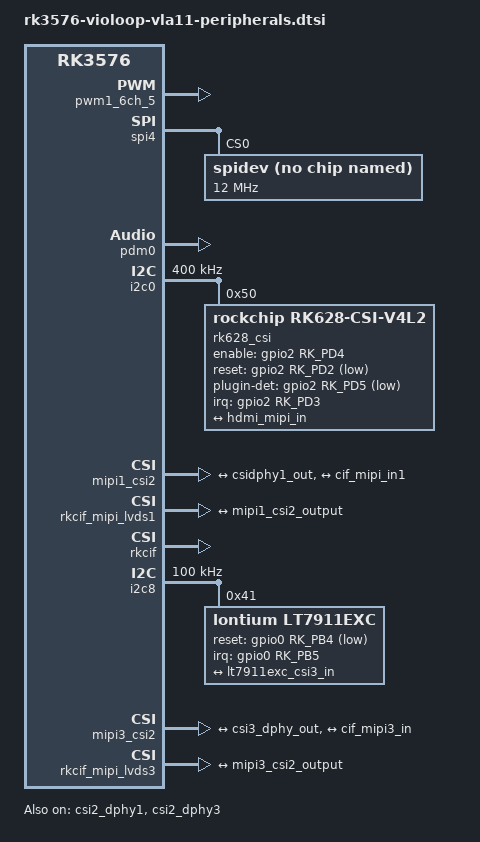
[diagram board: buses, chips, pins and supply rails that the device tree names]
// SPDX-License-Identifier: (GPL-2.0+ OR MIT)
/*
 * Violoop VLA11 product peripherals.
 *
 * Optional devices populated on the complete VLA11 product.
 */

/ {
    pdmics: dummy-codec {
        status = "okay";
        compatible = "rockchip,dummy-codec";
        #sound-dai-cells = <0>;
    };

    pdm_mic_array: pdm-mic-array {
        status = "okay";
        compatible = "simple-audio-card";
        simple-audio-card,name = "rockchip,pdm-mic-array";
        simple-audio-card,cpu {
            sound-dai = <&pdm0>;
        };
        simple-audio-card,codec {
            sound-dai = <&pdmics>;
        };
    };

};

/**********Violoop userspace fan control**********/

&pwm1_6ch_5 {
    /*
     * PWM1_CH5_M1 drives the fan input on GPIO4_C0.  Do not bind the
     * kernel pwm-fan consumer here: violoop-thermald owns pwmchip1/pwm0
     * and applies the product fan curve in userspace.
     */
    status = "okay";
    pinctrl-0 = <&pwm1m1_ch5>;
};

/**********3PIN SPI呼吸灯**********/

&spi4 {
    status = "okay";
    pinctrl-names = "default";
    /*
     * The 3-wire WS2812 strip only uses MOSI.  Do not request CS0 here:
     * SPI4_M3_CSN0 is GPIO2_B2, shared with PCIe0 CLKREQ# on VLA11.
     * Userspace sets SPI_NO_CS for transfers.
     */
    pinctrl-0 = <&spi4m3_pins>;


    #address-cells = <1>;
    #size-cells = <0>;

    // 定义 SPI 设备：片选 0，生成 /dev/spidev4.0
    spidev@0 {
        compatible = "rockchip,spidev";   // 使驱动匹配的兼容字符串，也可用 "spidev"
        reg = <0>;                         // 片选号（0 对应 CS0）
        spi-max-frequency = <12000000>;
        status = "okay";
    };

};

/**********PDM麦克风阵列**********/

&pdm0 {
    status = "okay";
    pinctrl-names = "default", "idle", "clk";
    pinctrl-0 = <&pdm0m0_sdi0>;
    pinctrl-1 = <&pdm0m0_clk0_idle
                 &pdm0m0_clk1_idle>;
    /*
     * VLA11 stereo PDM uses one data line: CLK0 + SDI0.  The two
     * microphones select opposite clock edges and become ALSA ch1/ch2.
     * The driver selects the whole "clk" state while capturing, so keep
     * SDI0 claimed there and leave the unused CLK1 in its idle state.
     */
    pinctrl-2 = <&pdm0m0_clk0
                 &pdm0m0_sdi0
                 &pdm0m0_clk1_idle>;
};

/**********HDMI IN-RK628F*********/

&i2c0 {
    status = "okay";
    pinctrl-0 = <&i2c0m1_xfer>;
    clock-frequency = <400000>;

    rk628_csi: rk628_csi@50 {
        reg = <0x50>;
        compatible = "rockchip,rk628-csi-v4l2";
        status = "okay";
        power-domains = <&power RK3576_PD_VI>;
        pinctrl-names = "default";
        pinctrl-0 = <&rk628_pin>;
        interrupt-parent = <&gpio2>;
		/* VAL11 VLA11: D2=RESET, D3=INT, D4=PWR_EN, D5=Plugin_DET. */
		interrupts = <RK_PD3 IRQ_TYPE_LEVEL_HIGH>;
		enable-gpios = <&gpio2 RK_PD4 GPIO_ACTIVE_HIGH>;
		reset-gpios = <&gpio2 RK_PD2 GPIO_ACTIVE_LOW>;
		plugin-det-gpios = <&gpio2 RK_PD5 GPIO_ACTIVE_LOW>;
        continues-clk = <1>;
        /*
         * VLA11 validation: leave CEC disabled while the RK628H reports an
         * I2C failure at HDMI_RX_CEC_RX_CNT (0x31f20).  CEC is independent
         * of the HDMI-to-CSI video path and a stuck CEC interrupt must not
         * hold the shared level-high INT line asserted.
         */
        #sound-dai-cells = <0>;

        rockchip,camera-module-index = <0>;
        rockchip,camera-module-facing = "back";
        rockchip,camera-module-name = "HDMI-MIPI1";
        rockchip,camera-module-lens-name = "RK628-CSI";



        port {
            hdmiin_out: endpoint {
                remote-endpoint = <&hdmi_mipi_in>;
                data-lanes = <1 2 3 4>;
            };
        };
    };
};

/*-----------------------------------------------------------------------*/

&csi2_dphy1 {
    status = "okay";

    ports {
        #address-cells = <1>;
        #size-cells = <0>;
        port@0 {
            reg = <0>;
            #address-cells = <1>;
            #size-cells = <0>;

            hdmi_mipi_in: endpoint@1 {
                reg = <1>;
                remote-endpoint = <&hdmiin_out>;
                data-lanes = <1 2 3 4>;
            };


        };
        port@1 {
            reg = <1>;
            #address-cells = <1>;
            #size-cells = <0>;

            csidphy1_out: endpoint@0 {
                reg = <0>;
                remote-endpoint = <&mipi1_csi2_input>;
            };
        };
    };
};

/*-----------------------------------------------------------------------*/

&mipi1_csi2 {
    status = "okay";

    ports {
        #address-cells = <1>;
        #size-cells = <0>;

        port@0 {
            reg = <0>;
            #address-cells = <1>;
            #size-cells = <0>;

            mipi1_csi2_input: endpoint@1 {
                reg = <1>;
                remote-endpoint = <&csidphy1_out>;
            };
        };

        port@1 {
            reg = <1>;
            #address-cells = <1>;
            #size-cells = <0>;

            mipi1_csi2_output: endpoint@0 {
                reg = <0>;
                remote-endpoint = <&cif_mipi_in1>;
            };
        };
    };
};

/*-----------------------------------------------------------------------*/

&rkcif_mipi_lvds1 {
    status = "okay";

    port {
        cif_mipi_in1: endpoint {
            remote-endpoint = <&mipi1_csi2_output>;
        };
    };
};

/*-----------------------------------------------------------------------*/

&rkcif {
    status = "okay";
};

&rkcif_mmu {
    status = "okay";
};

&pinctrl {
    hdmiin {
        rk628_pin: rk628-pin {
			rockchip,pins = <2 RK_PD2 RK_FUNC_GPIO &pcfg_pull_none>,
					<2 RK_PD3 RK_FUNC_GPIO &pcfg_pull_none>,
					<2 RK_PD4 RK_FUNC_GPIO &pcfg_pull_none>,
					<2 RK_PD5 RK_FUNC_GPIO &pcfg_pull_none>;
        };
    };

	lt7911exc {
		lt7911exc_ctrl: lt7911exc-ctrl {
			/* GPIO0_B4 is LT_RST; GPIO0_B5 receives active-low INT_GPIO11. */
			rockchip,pins = <0 RK_PB4 RK_FUNC_GPIO &pcfg_pull_none>,
					<0 RK_PB5 RK_FUNC_GPIO &pcfg_pull_up>;
		};
	};
};

/**********Type-C/DP input through LT7911EXC to CSI3**********/

/*
 * VLA11 connects I2C8 M2, GPIO0_B4 LT_RST, GPIO0_B5 INT_GPIO11 and four
 * CSI3 data lanes to the bridge.
 */
&i2c8 {
	/* Some early LT7911EXC revisions only answer at the default 100 kHz. */
	clock-frequency = <100000>;
	pinctrl-names = "default";
	pinctrl-0 = <&i2c8m2_xfer>;
	status = "okay";

	lt7911exc: lt7911exc@41 {
		compatible = "lontium,lt7911exc";
		reg = <0x41>;
		interrupt-parent = <&gpio0>;
		interrupts = <RK_PB5 IRQ_TYPE_EDGE_FALLING>;
		/* R47 (68K) pulls RST_N to 3.3 V; the SoC only sinks or releases it. */
		reset-gpios = <&gpio0 RK_PB4
				 (GPIO_ACTIVE_LOW | GPIO_OPEN_DRAIN)>;
		/* R47/C71 form a 68 ms RC; allow reset to rise and firmware to boot. */
		lontium,reset-release-delay-ms = <100>;
		pinctrl-names = "default";
		pinctrl-0 = <&lt7911exc_ctrl>;
		rockchip,camera-module-index = <1>;
		rockchip,camera-module-facing = "back";
		rockchip,camera-module-name = "TYPEC-DP-MIPI-CSI3";
		rockchip,camera-module-lens-name = "LT7911EXC";
		/* LT7911EXC firmware is programmed; enable the complete CSI3 bridge. */
		status = "okay";

		port {
			lt7911exc_out: endpoint {
				bus-type = <4>;
				data-lanes = <1 2 3 4>;
				remote-endpoint = <&lt7911exc_csi3_in>;
			};
		};
	};
};

/* CSI3 is used in its complete four-lane mode; split DPHY4/5 stay disabled. */
&csi2_dphy3 {
	status = "okay";

	ports {
		#address-cells = <1>;
		#size-cells = <0>;

		port@0 {
			reg = <0>;
			#address-cells = <1>;
			#size-cells = <0>;

			lt7911exc_csi3_in: endpoint@1 {
				reg = <1>;
				bus-type = <4>;
				data-lanes = <1 2 3 4>;
				remote-endpoint = <&lt7911exc_out>;
			};
		};

		port@1 {
			reg = <1>;
			#address-cells = <1>;
			#size-cells = <0>;

			csi3_dphy_out: endpoint@0 {
				reg = <0>;
				remote-endpoint = <&mipi3_csi2_input>;
			};
		};
	};
};

&mipi3_csi2 {
	status = "okay";

	ports {
		#address-cells = <1>;
		#size-cells = <0>;

		port@0 {
			reg = <0>;
			#address-cells = <1>;
			#size-cells = <0>;

			mipi3_csi2_input: endpoint@1 {
				reg = <1>;
				remote-endpoint = <&csi3_dphy_out>;
			};
		};

		port@1 {
			reg = <1>;
			#address-cells = <1>;
			#size-cells = <0>;

			mipi3_csi2_output: endpoint@0 {
				reg = <0>;
				remote-endpoint = <&cif_mipi3_in>;
			};
		};
	};
};

&rkcif_mipi_lvds3 {
	status = "okay";

	port {
		cif_mipi3_in: endpoint {
			remote-endpoint = <&mipi3_csi2_output>;
		};
	};
};
